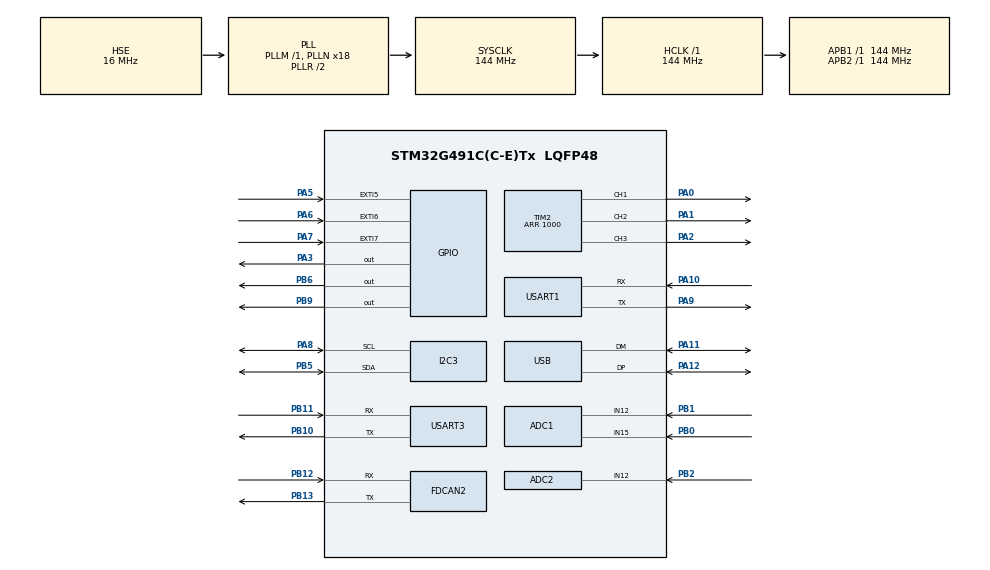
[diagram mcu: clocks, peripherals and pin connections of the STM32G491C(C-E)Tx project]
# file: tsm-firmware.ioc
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ADC1.Channel-0\#ChannelRegularConversion=ADC_CHANNEL_12
ADC1.NbrOfConversionFlag=1
ADC1.OffsetNumber-0\#ChannelRegularConversion=ADC_OFFSET_NONE
ADC1.Rank-0\#ChannelRegularConversion=1
ADC1.SamplingTime-0\#ChannelRegularConversion=ADC_SAMPLETIME_2CYCLES_5
ADC1.master=1
ADC2.Channel-0\#ChannelRegularConversion=ADC_CHANNEL_12
ADC2.NbrOfConversionFlag=1
ADC2.OffsetNumber-0\#ChannelRegularConversion=ADC_OFFSET_NONE
ADC2.Rank-0\#ChannelRegularConversion=1
ADC2.SamplingTime-0\#ChannelRegularConversion=ADC_SAMPLETIME_2CYCLES_5
FDCAN2.CalculateBaudRateNominal=1000000
FDCAN2.CalculateTimeBitNominal=1000
FDCAN2.CalculateTimeQuantumNominal=250.0
FDCAN2.Mode=FDCAN_MODE_NORMAL
FDCAN2.NominalPrescaler=12
FDCAN2.NominalTimeSeg1=2
FDCAN2.NominalTimeSeg2=1
FREERTOS.Tasks01=defaultTask,24,2048,StartDefaultTask,Default,NULL,Dynamic,NULL,NULL
FREERTOS.configTOTAL_HEAP_SIZE=65536
I2C3.Timing=0x60715075
Mcu.Family=STM32G4
Mcu.Name=STM32G491C(C-E)Tx
Mcu.Package=LQFP48
NVIC.PriorityGroup=NVIC_PRIORITYGROUP_4
NVIC.TIM20_UP_IRQn=true\:15\:0\:false\:false\:true\:false\:false\:true\:true
NVIC.TimeBase=TIM20_UP_IRQn
NVIC.TimeBaseIP=TIM20
NVIC.USB_LP_IRQn=true\:5\:0\:false\:false\:true\:true\:false\:true\:true
PA0.Signal=S_TIM2_CH1
PA1.Signal=S_TIM2_CH2
PA10.Mode=Asynchronous
PA10.Signal=USART1_RX
PA11.Mode=Device
PA11.Signal=USB_DM
PA12.Mode=Device
PA12.Signal=USB_DP
PA13.Mode=Trace_Asynchronous_SW
PA13.Signal=SYS_JTMS-SWDIO
PA14.Mode=Trace_Asynchronous_SW
PA14.Signal=SYS_JTCK-SWCLK
PA2.Signal=S_TIM2_CH3
PA3.GPIO_ModeDefaultOutputPP=GPIO_MODE_OUTPUT_OD
PA3.GPIO_PuPd=GPIO_NOPULL
PA3.Signal=GPIO_Output
PA5.GPIO_ModeDefaultEXTI=GPIO_MODE_IT_FALLING
PA5.Signal=GPXTI5
PA6.GPIO_ModeDefaultEXTI=GPIO_MODE_IT_FALLING
PA6.Signal=GPXTI6
PA7.GPIO_ModeDefaultEXTI=GPIO_MODE_IT_FALLING
PA7.Signal=GPXTI7
PA8.Mode=I2C
PA8.Signal=I2C3_SCL
PA9.Mode=Asynchronous
PA9.Signal=USART1_TX
PB0.Mode=IN15-Single-Ended
PB0.Signal=ADC1_IN15
PB1.Mode=IN12-Single-Ended
PB1.Signal=ADC1_IN12
PB10.Mode=Asynchronous
PB10.Signal=USART3_TX
PB11.Mode=Asynchronous
PB11.Signal=USART3_RX
PB12.Mode=FDCAN_Activate
PB12.Signal=FDCAN2_RX
PB13.Mode=FDCAN_Activate
PB13.Signal=FDCAN2_TX
PB2.Mode=IN12-Single-Ended
PB2.Signal=ADC2_IN12
PB3.Mode=Trace_Asynchronous_SW
PB3.Signal=SYS_JTDO-SWO
PB5.Mode=I2C
PB5.Signal=I2C3_SDA
PB6.GPIO_PuPd=GPIO_PULLDOWN
PB6.Signal=GPIO_Output
PB9.Signal=GPIO_Output
PF0-OSC_IN.Mode=HSE-External-Oscillator
PF0-OSC_IN.Signal=RCC_OSC_IN
PF1-OSC_OUT.Mode=HSE-External-Oscillator
PF1-OSC_OUT.Signal=RCC_OSC_OUT
ProjectManager.HeapSize=0x200
ProjectManager.StackSize=0x400
ProjectManager.TargetToolchain=Makefile
RCC.ADC12Freq_Value=144000000
RCC.ADC345Freq_Value=144000000
RCC.AHBFreq_Value=144000000
RCC.APB1Freq_Value=144000000
RCC.APB1TimFreq_Value=144000000
RCC.APB2Freq_Value=144000000
RCC.APB2TimFreq_Value=144000000
RCC.CK48CLockSelection=RCC_USBCLKSOURCE_PLL
RCC.CortexFreq_Value=144000000
RCC.EXTERNAL_CLOCK_VALUE=12288000
RCC.FDCANCLockSelection=RCC_FDCANCLKSOURCE_PLL
RCC.HCLKFreq_Value=144000000
RCC.HSE_VALUE=16000000
RCC.HSI48_VALUE=48000000
RCC.HSI_VALUE=16000000
RCC.LSE_VALUE=32768
RCC.PLLN=18
RCC.PLLQ=RCC_PLLQ_DIV6
RCC.PLLSourceVirtual=RCC_PLLSOURCE_HSE
RCC.SYSCLKFreq_VALUE=144000000
RCC.SYSCLKSource=RCC_SYSCLKSOURCE_PLLCLK
RCC.USBFreq_Value=48000000
RCC.VCOOutputFreq_Value=288000000
SH.S_TIM2_CH1.0=TIM2_CH1,PWM Generation1 CH1
SH.S_TIM2_CH2.0=TIM2_CH2,PWM Generation2 CH2
SH.S_TIM2_CH3.0=TIM2_CH3,PWM Generation3 CH3
TIM2.Channel-PWM\ Generation1\ CH1=TIM_CHANNEL_1
TIM2.Channel-PWM\ Generation2\ CH2=TIM_CHANNEL_2
TIM2.Channel-PWM\ Generation3\ CH3=TIM_CHANNEL_3
TIM2.OCFastMode_PWM-PWM\ Generation1\ CH1=TIM_OCFAST_ENABLE
TIM2.OCFastMode_PWM-PWM\ Generation2\ CH2=TIM_OCFAST_ENABLE
TIM2.OCFastMode_PWM-PWM\ Generation3\ CH3=TIM_OCFAST_ENABLE
TIM2.OCPolarity_1=TIM_OCPOLARITY_LOW
TIM2.OCPolarity_2=TIM_OCPOLARITY_LOW
TIM2.OCPolarity_3=TIM_OCPOLARITY_LOW
TIM2.PeriodNoDither=1000
USART1.VirtualMode-Asynchronous=VM_ASYNC
USART3.VirtualMode-Asynchronous=VM_ASYNC
USB_DEVICE.CLASS_NAME_FS=CDC
USB_DEVICE.VirtualMode=Cdc
USB_DEVICE.VirtualModeFS=Cdc_FS
VP_FREERTOS_VS_CMSIS_V2.Mode=CMSIS_V2
VP_SYS_VS_DBSignals.Mode=DisableDeadBatterySignals
VP_SYS_VS_tim20.Mode=TIM20
VP_USB_DEVICE_VS_USB_DEVICE_CDC_FS.Mode=CDC_FS
board=custom

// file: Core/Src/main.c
/* USER CODE BEGIN Header */
/**
 ******************************************************************************
 * @file           : main.c
 * @brief          : Main program body
 ******************************************************************************
 * @attention
 *
 * Copyright (c) 2025 STMicroelectronics.
 * All rights reserved.
 *
 * This software is licensed under terms that can be found in the LICENSE file
 * in the root directory of this software component.
 * If no LICENSE file comes with this software, it is provided AS-IS.
 *
 ******************************************************************************
 */
/* USER CODE END Header */
#include "main.h"
#include "cmsis_os.h"
#include "adc.h"
#include "fdcan.h"
#include "i2c.h"
#include "tim.h"
#include "usart.h"
#include "usb_device.h"
#include "gpio.h"

/* USER CODE BEGIN Includes */
extern volatile uint32_t flow_pulses;
extern volatile uint32_t fan_pulses;
extern volatile uint32_t bat_fan_pulses;
/* USER CODE END Includes */

void SystemClock_Config(void);
void MX_FREERTOS_Init(void);

int main(void)
{

  /* MCU Configuration--------------------------------------------------------*/

  /* Reset of all peripherals, Initializes the Flash interface and the Systick. */
  HAL_Init();

  /* Configure the system clock */
  SystemClock_Config();

  /* Initialize all configured peripherals */
  MX_GPIO_Init();
  MX_TIM2_Init();
  MX_I2C3_Init();
  MX_USART3_UART_Init();
  MX_USART1_UART_Init();
  MX_ADC1_Init();
  MX_ADC2_Init();
  MX_FDCAN2_Init();
  /* USER CODE BEGIN 2 */
  CoreDebug->DEMCR |= CoreDebug_DEMCR_TRCENA_Msk;
  DWT->CYCCNT = 0;
  DWT->CTRL |= DWT_CTRL_CYCCNTENA_Msk;
  /* USER CODE END 2 */

  /* Init scheduler */
  osKernelInitialize();  /* Call init function for freertos objects (in cmsis_os2.c) */
  MX_FREERTOS_Init();

  /* Start scheduler */
  osKernelStart();

  /* We should never get here as control is now taken by the scheduler */

  /* Infinite loop */
  while (1) {

  }
}

void SystemClock_Config(void)
{
  RCC_OscInitTypeDef RCC_OscInitStruct = {0};
  RCC_ClkInitTypeDef RCC_ClkInitStruct = {0};

  /** Configure the main internal regulator output voltage
  */
  HAL_PWREx_ControlVoltageScaling(PWR_REGULATOR_VOLTAGE_SCALE1);

  /** Initializes the RCC Oscillators according to the specified parameters
  * in the RCC_OscInitTypeDef structure.
  */
  RCC_OscInitStruct.OscillatorType = RCC_OSCILLATORTYPE_HSE;
  RCC_OscInitStruct.HSEState = RCC_HSE_ON;
  RCC_OscInitStruct.PLL.PLLState = RCC_PLL_ON;
  RCC_OscInitStruct.PLL.PLLSource = RCC_PLLSOURCE_HSE;
  RCC_OscInitStruct.PLL.PLLM = RCC_PLLM_DIV1;
  RCC_OscInitStruct.PLL.PLLN = 18;
  RCC_OscInitStruct.PLL.PLLP = RCC_PLLP_DIV2;
  RCC_OscInitStruct.PLL.PLLQ = RCC_PLLQ_DIV6;
  RCC_OscInitStruct.PLL.PLLR = RCC_PLLR_DIV2;
  if (HAL_RCC_OscConfig(&RCC_OscInitStruct) != HAL_OK)
  {
    Error_Handler();
  }

  /** Initializes the CPU, AHB and APB buses clocks
  */
  RCC_ClkInitStruct.ClockType = RCC_CLOCKTYPE_HCLK|RCC_CLOCKTYPE_SYSCLK
                              |RCC_CLOCKTYPE_PCLK1|RCC_CLOCKTYPE_PCLK2;
  RCC_ClkInitStruct.SYSCLKSource = RCC_SYSCLKSOURCE_PLLCLK;
  RCC_ClkInitStruct.AHBCLKDivider = RCC_SYSCLK_DIV1;
  RCC_ClkInitStruct.APB1CLKDivider = RCC_HCLK_DIV1;
  RCC_ClkInitStruct.APB2CLKDivider = RCC_HCLK_DIV1;

  if (HAL_RCC_ClockConfig(&RCC_ClkInitStruct, FLASH_LATENCY_4) != HAL_OK)
  {
    Error_Handler();
  }
}

/* USER CODE BEGIN 4 */
void HAL_GPIO_EXTI_Callback(uint16_t GPIO_Pin) {
  if (GPIO_Pin == GPIO_PIN_7) {
    static uint32_t last_flow_tick = 0;
    uint32_t now = HAL_GetTick();
    if (now - last_flow_tick > 5) {
      flow_pulses++;
      last_flow_tick = now;
    }
  }

  if (GPIO_Pin == GPIO_PIN_5) {
    fan_pulses++;
  }

  if (GPIO_Pin == GPIO_PIN_6) {
    bat_fan_pulses++;
  }
}
/* USER CODE END 4 */

void HAL_TIM_PeriodElapsedCallback(TIM_HandleTypeDef *htim)
{
  if (htim->Instance == TIM20)
  {
    HAL_IncTick();
  }
}

void Error_Handler(void)
{
  /* USER CODE BEGIN Error_Handler_Debug */
  /* User can add his own implementation to report the HAL error return state
   */
  __disable_irq();
  while (1) {
    // HAL_TIM_PWM_DeInit(&htim2);
    // HAL_GPIO_TogglePin(GPIOA, GPIO_PIN_0);
  }
  /* USER CODE END Error_Handler_Debug */
}
#ifdef USE_FULL_ASSERT
/**
  * @brief  Reports the name of the source file and the source line number
  *         where the assert_param error has occurred.
  * @param  file: pointer to the source file name
  * @param  line: assert_param error line source number
  * @retval None
  */
void assert_failed(uint8_t *file, uint32_t line)
{
  /* USER CODE BEGIN 6 */
  /* User can add his own implementation to report the file name and line
     number, ex: printf("Wrong parameters value: file %s on line %d\r\n",
     file, line) */
  /* USER CODE END 6 */
}
#endif /* USE_FULL_ASSERT */

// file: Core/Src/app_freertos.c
/* USER CODE BEGIN Header */
/**
 ******************************************************************************
 * File Name          : app_freertos.c
 * Description        : Code for freertos applications
 ******************************************************************************
 * @attention
 *
 * Copyright (c) 2025 STMicroelectronics.
 * All rights reserved.
 *
 * This software is licensed under terms that can be found in the LICENSE file
 * in the root directory of this software component.
 * If no LICENSE file comes with this software, it is provided AS-IS.
 *
 ******************************************************************************
 */
/* USER CODE END Header */

#include "FreeRTOS.h"
#include "task.h"
#include "main.h"
#include "cmsis_os.h"

#include "usb_device.h"

/* USER CODE BEGIN Includes */
#include "flow_fan.h"
#include "longhorn/rtos/dfu.h"
#include "longhorn/rtos/led.h"
#include "longhorn/rtos/logger.h"
#include "longhorn/rtos/usb.h"
#include "longhorn/usb_base.h"
#include "ota/ota_flash.h"
#include "stm32g4xx_hal.h"
#include "tim.h"
#include "tsm_can.h"
#include "tsm_sensors.h"
#include "usb_device.h"
#include "usbd_cdc_if.h"
#include <math.h>

#include "adc.h"
#include "fdcan.h"
#include "gpio.h"

/* USER CODE END Includes */

/* USER CODE BEGIN PD */
volatile uint32_t flow_pulses = 0;
volatile uint32_t fan_pulses = 0;
volatile uint32_t bat_fan_pulses = 0;

float coolant_flow_lpm = 0;
float rad_fan_rpm = 0;
float bat_fan_rpm = 0;
/* USER CODE END PD */

/* USER CODE BEGIN Variables */

osThreadId_t sensorTaskHandle;
const osThreadAttr_t sensorTask_attributes = {
    .name = "sensorTask",
    .priority = (osPriority_t)osPriorityNormal,
    .stack_size = 2048 * 4};
/* USER CODE END Variables */
/* Definitions for defaultTask */
osThreadId_t defaultTaskHandle;
const osThreadAttr_t defaultTask_attributes = {
  .name = "defaultTask",
  .priority = (osPriority_t) osPriorityNormal,
  .stack_size = 2048 * 4
};

/* USER CODE BEGIN FunctionPrototypes */
void StartSensorTask(void *argument);
/* USER CODE END FunctionPrototypes */

void StartDefaultTask(void *argument);

void MX_FREERTOS_Init(void); /* (MISRA C 2004 rule 8.1) */

void MX_FREERTOS_Init(void) {

  /* Create the thread(s) */
  /* creation of defaultTask */
  defaultTaskHandle = osThreadNew(StartDefaultTask, NULL, &defaultTask_attributes);

  /* USER CODE BEGIN RTOS_THREADS */
  /* add threads, ... */

  rainbow_led_t led = {
      .ccr1 = &TIM2->CCR1,
      .ccr2 = &TIM2->CCR2,
      .ccr3 = &TIM2->CCR3,
      .channel1 = TIM_CHANNEL_1,
      .channel2 = TIM_CHANNEL_2,
      .channel3 = TIM_CHANNEL_3,
      .pwm_start = (HAL_PWM_Start_Fn)HAL_TIM_PWM_Start,
      .timer_handle = &htim2,
  };

  led_init(&led);
  led_start_thread();
  /* USER CODE END RTOS_THREADS */

}

void StartDefaultTask(void *argument)
{
  /* init code for USB_Device */
  MX_USB_Device_Init();
  /* USER CODE BEGIN StartDefaultTask */
  osDelay(500);
  if (init_logging(CDC_Transmit_FS) == -1) {
    Error_Handler();
  }

  log_printf(LOG_INFO, "BOOT\r\n");

  dfu_config dfu = {
      .delay_fn = (Delay_fn)osDelay,
      .gpiox = GPIOB,
      .pin = GPIO_PIN_9,
      .pin_set_fn = (PinSet_fn)HAL_GPIO_WritePin,
      .reset_fn = (SystemReset_fn)HAL_NVIC_SystemReset,
      .set_bank1_fn = (SetBank1_fn)ota_set_bank1,
  };

  init_dfu(dfu);
  dfu_start_thread();

  /* Initialize CAN */
  tsm_can_init();

  sensorTaskHandle = osThreadNew(StartSensorTask, NULL, &sensorTask_attributes);

  // log_printf(LOG_INFO, "[TSM] Application started\n");

  /* Infinite loop */
  for (;;) {
    osDelay(1000);
  }

  /* USER CODE END StartDefaultTask */
}

/* USER CODE BEGIN Application */
void StartSensorTask(void *argument) {
  uint32_t last_flow = 0;
  uint32_t last_rad_fan = 0;
  uint32_t last_bat_fan = 0;
  uint32_t last_tick = HAL_GetTick();

  // bool psr_logged = false;

  for (;;) {
    // log_printf(LOG_INFO, "FDCAN PSR: 0x%08lX\n", hfdcan2.Instance->PSR);

    uint16_t therm_adc[3];
    float temps_c[4];

    // Read thermistors via ADC
    therm_adc[0] = read_therm_adc(&hadc1, ADC_CHANNEL_15); // motor
    therm_adc[1] = read_therm_adc(&hadc1, ADC_CHANNEL_12); // inverter
    therm_adc[2] = read_therm_adc(&hadc2, ADC_CHANNEL_12); // radiator

    // Convert ADC → temperature
    for (int i = 0; i < 3; i++)
      temps_c[i] = thermistor_adc_to_temp(therm_adc[i]);

    // Ambient temp sensor
    temps_c[3] = ds18b20_read_temp();
    // temps_c[3] = 0.0f;

    // for (;;) {
    //   log_printf(LOG_INFO, "GPIO: PA5=%d PA6=%d PA7=%d\r\n",
    //              HAL_GPIO_ReadPin(GPIOA, GPIO_PIN_5),
    //              HAL_GPIO_ReadPin(GPIOA, GPIO_PIN_6),
    //              HAL_GPIO_ReadPin(GPIOA, GPIO_PIN_7));
    //   osDelay(10);
    // }

    // Flow + fan update
    flow_fan_update(&last_flow, &last_rad_fan, &last_bat_fan, &coolant_flow_lpm,
                    &rad_fan_rpm, &bat_fan_rpm, &last_tick);

    // Send CAN packets
    tsm_can_update_coolant_loop(temps_c[0], temps_c[1], temps_c[2]);
    tsm_can_update_cooling_system(rad_fan_rpm, bat_fan_rpm, coolant_flow_lpm,
                                  temps_c[3]);

    // Logging
    char m_buf[8], i_buf[8], r_buf[8], a_buf[8];

    // log_printf(LOG_INFO,
    //            "ADC Raw | Motor: %4u | Inverter: %4u | Radiator: %4u\r\n",
    //            therm_adc[0], therm_adc[1], therm_adc[2]);
    // osDelay(100);

    log_printf(LOG_INFO,
               "Motor: %s C | Inverter: %s C | Radiator: %s C | Ambient: %s C "
               "| Flow: %.2f LPM | Rad Fan: %.0f RPM | Bat Fan: %.0f RPM\r\n",
               temp_to_str(temps_c[0], m_buf, sizeof(m_buf)),
               temp_to_str(temps_c[1], i_buf, sizeof(i_buf)),
               temp_to_str(temps_c[2], r_buf, sizeof(r_buf)),
               temp_to_str(temps_c[3], a_buf, sizeof(a_buf)), coolant_flow_lpm,
               rad_fan_rpm, bat_fan_rpm);

    osDelay(pdMS_TO_TICKS(1000));
    // tsm_can_debug();
    // osDelay(10);
  }
}

/* USER CODE END Application */
